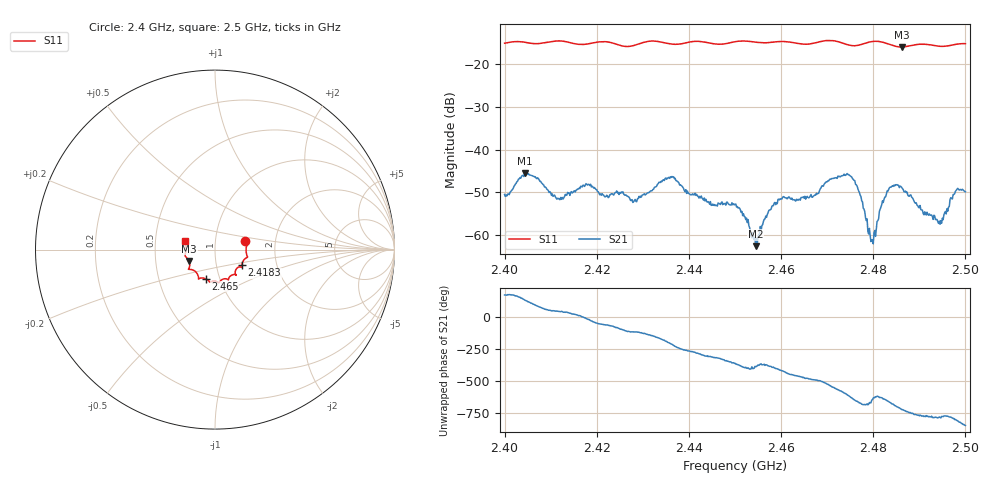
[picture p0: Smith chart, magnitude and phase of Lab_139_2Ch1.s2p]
# Hz S RI R 50
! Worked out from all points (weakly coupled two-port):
!   601 points, 2.4 GHz to 2.5 GHz, reference 50 ohm
!   highest |S21| = -45.56 dB at 2.4043 GHz (marker M1); lowest = -62.5 dB at 2.4545 GHz (marker M2)
!   lowest |S11| = -16.0 dB at 2.4862 GHz (marker M3), VSWR 1.37, Z = 37.1 - j4.82 ohm
!   |S11| at or under -10 dB: start of sweep to end of sweep
!   S12 and S22 are empty: the file has one direction only
!   S11 on the Smith chart (normalised r, x): 2.4 GHz: 1.40, +0.13; 2.4183 GHz: 1.33, -0.24; 2.465 GHz: 0.86, -0.29; 2.5 GHz: 0.71, +0.07
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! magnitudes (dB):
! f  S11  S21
! 2.4 GHz  -15.1  -50.5
! 2.4043 GHz  -14.9  -45.6
! 2.4118 GHz  -14.6  -51.5
! 2.4167 GHz  -15.4  -48.6
! 2.4183 GHz  -15.2  -48.1
! 2.4282 GHz  -15.6  -51.9
! 2.4333 GHz  -14.7  -47.9
! 2.4365 GHz  -15.4  -46.4
! 2.4453 GHz  -15.3  -53.0
! 2.45 GHz  -14.8  -52.8
! 2.4545 GHz  -14.9  -62.5
! 2.459 GHz  -14.8  -52.4
! 2.465 GHz  -15.4  -51.3
! 2.4667 GHz  -15.2  -51.1
! 2.4748 GHz  -15.6  -46.0
! 2.4768 GHz  -15.6  -49.6
! 2.48 GHz  -14.7  -62.0
! 2.4833 GHz  -15.3  -49.3
! 2.4862 GHz  -16.0  -48.8
! 2.4943 GHz  -15.8  -56.7
! 2.4978 GHz  -15.4  -49.7
! 2.5 GHz  -15.2  -49.8
